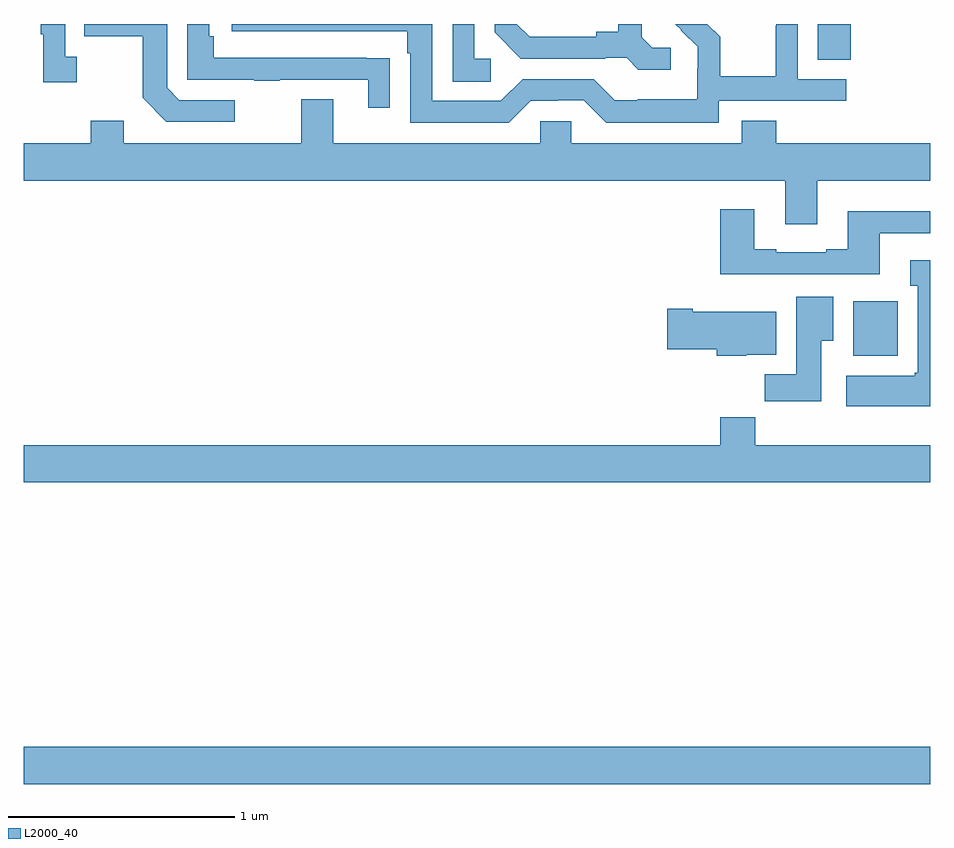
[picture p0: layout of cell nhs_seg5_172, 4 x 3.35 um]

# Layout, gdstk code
import gdstk
lib = gdstk.Library(unit=1e-6, precision=1e-09)
def R(c, l, rs):  # rectangles x0, y0, x1, y1
    for r in rs: c.add(gdstk.rectangle(r[:2], r[2:], *l))
def P(c, l, *ps):  # polygons
    for p in ps: c.add(gdstk.Polygon(p, *l))
L2000_40 = (2000, 40)

nhs_seg5_172 = lib.new_cell('nhs_seg5_172')
R(nhs_seg5_172, L2000_40, [(121,839.444,125,839.608), (124.661,841.334,124.858,841.576), (124.505,842.641,124.649,842.799)])
P(nhs_seg5_172, L2000_40, [(124.068,842.46),(124.63,842.46),(124.63,842.556),(124.416,842.556),(124.416,842.799),(124.32,842.799),(124.32,842.792),(124.318,842.792),(124.318,842.569),(124.073,842.569),(124.073,842.743),(124.017,842.799),(123.875,842.799),(123.901,842.773),(123.9,842.772),(123.974,842.698),(123.974,842.601),(123.972,842.601),(123.972,842.467),(123.709,842.467),(123.709,842.463),(123.609,842.463),(123.516,842.556),(123.201,842.556),(123.105,842.46),(122.802,842.46),(122.802,842.799),(121.917,842.799),(121.917,842.766),(122.693,842.766),(122.693,842.669),(122.706,842.669),(122.706,842.364),(123.141,842.364),(123.237,842.46),(123.356,842.46),(123.356,842.463),(123.471,842.463),(123.571,842.363),(124.068,842.363)],
  [(121.93,842.463),(121.686,842.463),(121.632,842.517),(121.632,842.799),(121.267,842.799),(121.267,842.746),(121.524,842.746),(121.524,842.473),(121.629,842.367),(121.93,842.367)],
  [(123.856,842.694),(123.774,842.694),(123.727,842.741),(123.727,842.799),(123.623,842.799),(123.623,842.765),(123.527,842.765),(123.527,842.742),(123.232,842.742),(123.175,842.799),(123.078,842.799),(123.078,842.762),(123.194,842.646),(123.566,842.646),(123.566,842.649),(123.66,842.649),(123.712,842.597),(123.856,842.597)],
  [(121.234,842.654),(121.182,842.654),(121.182,842.799),(121.074,842.799),(121.074,842.753),(121.085,842.753),(121.085,842.541),(121.234,842.541)],
  [(122.615,842.648),(122.513,842.648),(122.513,842.649),(121.838,842.649),(121.838,842.746),(121.818,842.746),(121.818,842.799),(121.722,842.799),(121.722,842.553),(122.017,842.553),(122.017,842.548),(122.129,842.548),(122.129,842.553),(122.519,842.553),(122.519,842.43),(122.615,842.43)],
  [(123.061,842.646),(122.988,842.646),(122.988,842.799),(122.892,842.799),(122.892,842.545),(123.061,842.545)],
  [(124.501,842.108),(125,842.108),(125,842.272),(124.322,842.272),(124.322,842.371),(124.169,842.371),(124.169,842.272),(123.417,842.272),(123.417,842.37),(123.279,842.37),(123.279,842.272),(122.365,842.272),(122.365,842.467),(122.225,842.467),(122.225,842.272),(121.441,842.272),(121.441,842.371),(121.294,842.371),(121.294,842.272),(121,842.272),(121,842.108),(124.361,842.108),(124.361,841.914),(124.501,841.914)],
  [(124.313,841.695),(124.777,841.695),(124.777,841.875),(125,841.875),(125,841.972),(124.637,841.972),(124.637,841.804),(124.541,841.804),(124.541,841.791),(124.321,841.791),(124.321,841.804),(124.225,841.804),(124.225,841.981),(124.073,841.981),(124.073,841.694),(124.313,841.694)],
  [(125,841.756),(124.913,841.756),(124.913,841.643),(124.946,841.643),(124.946,841.26),(124.933,841.26),(124.933,841.246),(124.629,841.246),(124.629,841.112),(125,841.112)],
  [(124.519,841.4),(124.573,841.4),(124.573,841.594),(124.409,841.594),(124.409,841.252),(124.27,841.252),(124.27,841.134),(124.519,841.134)],
  [(124.188,841.34),(124.321,841.34),(124.321,841.528),(123.952,841.528),(123.952,841.541),(123.84,841.541),(123.84,841.363),(124.058,841.363),(124.058,841.334),(124.188,841.334)],
  [(125,840.94),(124.229,840.94),(124.229,841.064),(124.073,841.064),(124.073,840.94),(121,840.94),(121,840.776),(125,840.776)])

lib.write_gds('nhs_seg5_172.gds')
